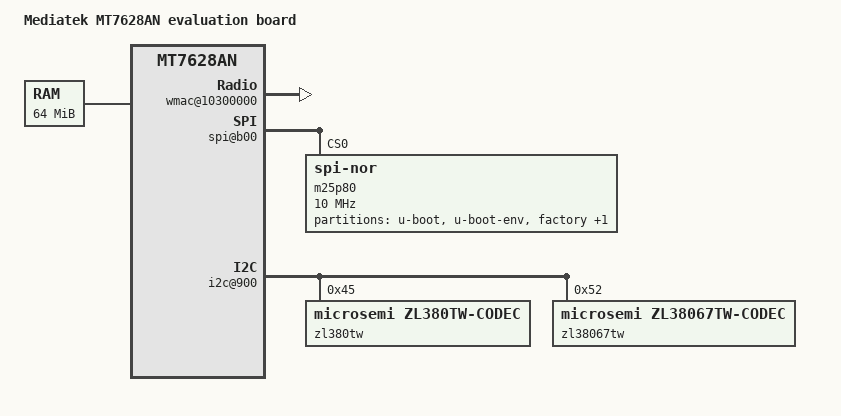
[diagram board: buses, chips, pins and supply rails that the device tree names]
/dts-v1/;

#include "mt7628an.dtsi"

/ {
	compatible = "mediatek,mt7628an-eval-board", "mediatek,mt7628an-soc";
	model = "Mediatek MT7628AN evaluation board";

	memory@0 {
		device_type = "memory";
		reg = <0x0 0x4000000>;
	};

	pinctrl {
		state_default: pinctrl0 {
			gpio {
				ralink,group = "jtag", "perst";
				ralink,function = "gpio";
			};
		};
	};

	wmac@10300000 {
		status = "okay";
	};

	palmbus@10000000 {
		spi@b00 {
			status = "okay";

			m25p80@0 {
				#address-cells = <1>;
				#size-cells = <1>;
				compatible = "jedec,spi-nor";
				reg = <0 0>;
				linux,modalias = "m25p80", "en25q64";
				spi-max-frequency = <10000000>;
				m25p,chunked-io = <32>;

				partition@0 {
					label = "u-boot";
					reg = <0x0 0x30000>;
					read-only;
				};

				partition@30000 {
					label = "u-boot-env";
					reg = <0x30000 0x10000>;
					read-only;
				};

				factory: partition@40000 {
					label = "factory";
					reg = <0x40000 0x10000>;
					read-only;
				};

				partition@50000 {
					label = "firmware";
					reg = <0x50000 0xfb0000>;
				};
			};
		};

//rak seven
		i2c@900 {

            status = "okay";

            zl380tw@45 {
                compatible = "microsemi,zl380tw-codec";
                reg = <0x45>;
            };
            zl38067tw@52 {
                compatible = "microsemi,zl38067tw-codec";
                reg = <0x52>;
            };
		};
	};
};
